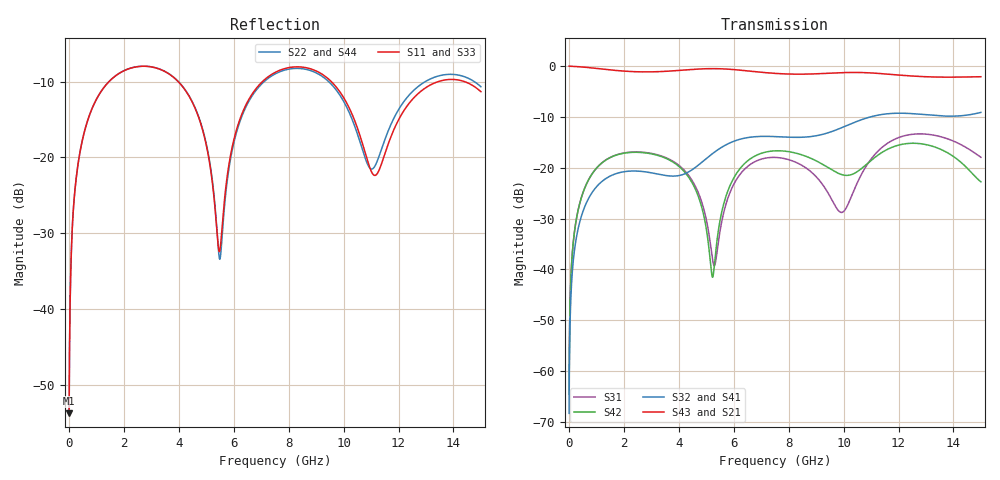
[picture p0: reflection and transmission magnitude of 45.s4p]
! Created with skrf 1.8.0 (http://scikit-rf.org).
# GHz S RI R 50.0
!freq ReS11 ImS11 ReS12 ImS12 ReS13 ImS13
! ReS14 ImS14
! ReS21 ImS21 ReS22 ImS22 ReS23 ImS23
! ReS24 ImS24
! ReS31 ImS31 ReS32 ImS32 ReS33 ImS33
! ReS34 ImS34
! ReS41 ImS41 ReS42 ImS42 ReS43 ImS43
! ReS44 ImS44
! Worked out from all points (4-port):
!   2499 points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, 5 MHz to 15 GHz, reference 50 ohm
!   strongest paths, dB at 5 MHz, 3.476 GHz, 7.19 GHz, 11.1 GHz, 15 GHz:
!     S43: 0.0, -1.0, -1.3, -1.4, -2.1
!     S21: 0.0, -1.0, -1.3, -1.4, -2.1
!     S32: -68.3, -21.5, -13.8, -9.8, -9.1
!     S41: -68.3, -21.5, -13.8, -9.8, -9.1
!     S42: -64.6, -18.0, -16.9, -18.1, -22.8
!     S31: -64.6, -17.9, -18.1, -17.6, -17.9
!   lowest |S11| = -53.7 dB at 5 MHz (marker M1), VSWR 1.00, Z = 50.2 + j0.126 ohm
!   |S11| at or under -10 dB: start of sweep to 1.46 GHz; 3.975 GHz to 7.048 GHz (3.073 GHz wide, 55.8 % of centre); 9.55 GHz to 13.46 GHz (3.906 GHz wide, 34 % of centre) (the widest 3 of 4)
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0.005  0.00164 0.00125  0.9983 -0.00319  7.99e-05 0.000583  -7.8e-05 -0.000376
       0.9983 -0.00319  0.00164 0.00125  -7.8e-05 -0.000376  7.99e-05 0.000583
       7.99e-05 0.000583  -7.8e-05 -0.000376  0.00164 0.00125  0.9983 -0.00319
       -7.8e-05 -0.000376  7.99e-05 0.000583  0.9983 -0.00319  0.00164 0.00125
0.3126303  0.0239 0.0825  0.9674 -0.1983  0.01 0.0347  -0.00843 -0.0221
           0.9674 -0.1983  0.0239 0.0825  -0.00843 -0.0221  0.00994 0.0347
           0.01 0.0347  -0.00843 -0.0221  0.0239 0.0825  0.9674 -0.1983
           -0.00843 -0.0221  0.00994 0.0347  0.9674 -0.1983  0.0239 0.0825
1.569404  0.2759 0.1815  0.5418 -0.7357  0.1178 0.0525  -0.0843 -0.00549
          0.5418 -0.7357  0.2764 0.1811  -0.0844 -0.00541  0.1165 0.0543
          0.1178 0.0525  -0.0844 -0.00541  0.2759 0.1816  0.5418 -0.7356
          -0.0843 -0.00549  0.1165 0.0543  0.5418 -0.7356  0.2764 0.1811
5.489787  0.024 0.00317  -0.9402 -0.0548  -0.0049 0.0224  -0.00523 0.1546
          -0.9402 -0.0548  0.0213 -0.000637  -0.00366 0.1546  0.0168 0.024
          -0.0049 0.0224  -0.00366 0.1546  0.0253 0.00292  -0.9402 -0.055
          -0.00523 0.1546  0.0168 0.024  -0.9402 -0.055  0.0201 -0.000929
8.459775  0.3935 -0.0228  0.00204 0.8327  0.0831 -0.0665  0.1948 -0.0406
          0.00204 0.8327  0.3843 -0.0166  0.1946 -0.0435  0.0838 -0.1052
          0.0831 -0.0665  0.1946 -0.0435  0.3923 -0.0243  0.00198 0.8331
          0.1948 -0.0406  0.0838 -0.1052  0.00198 0.8331  0.3836 -0.0151
11.28595  0.0803 0.0163  0.8463 -0.0259  0.0571 0.1373  -0.0209 -0.3297
          0.8463 -0.0259  0.0937 0.0381  -0.0265 -0.3295  -0.00356 0.135
          0.0571 0.1373  -0.0265 -0.3295  0.0798 0.0167  0.8462 -0.0263
          -0.0209 -0.3297  -0.00356 0.135  0.8462 -0.0263  0.0939 0.0406
15  0.2546 -0.0929  -0.3605 -0.6983  -0.0457 -0.1183  -0.3086 0.1656
    -0.3605 -0.6983  0.2641 -0.1254  -0.3042 0.1737  -0.0327 -0.065
    -0.0457 -0.1183  -0.3042 0.1737  0.2547 -0.0928  -0.3605 -0.6983
    -0.3086 0.1656  -0.0327 -0.065  -0.3605 -0.6983  0.2644 -0.125
